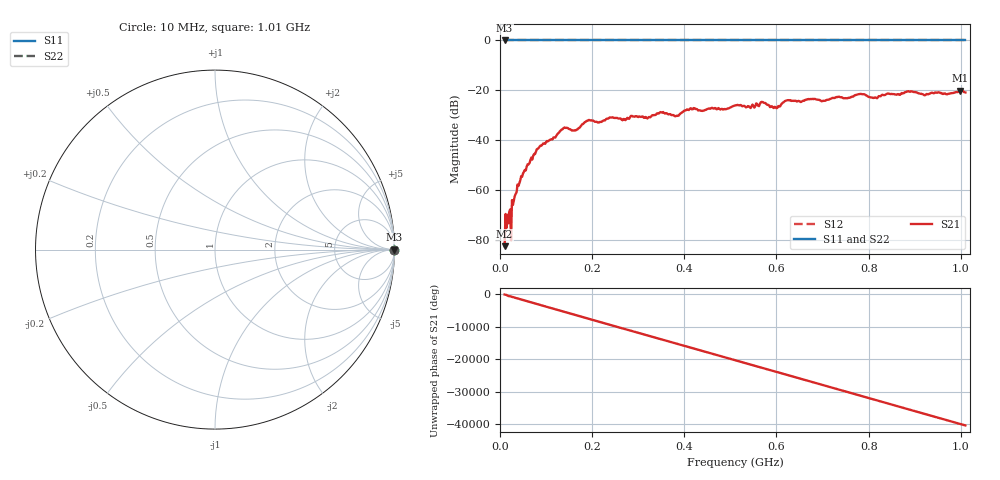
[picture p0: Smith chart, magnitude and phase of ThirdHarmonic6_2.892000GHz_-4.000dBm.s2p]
! 8/17/2025 7:57:51 AM
! C:\ANRITSUVNA\TEMP\TEMP.S2P
! CHANNEL.1
! TR.MEASUREMENT
! RAW.DATA
! RF.CORRECTION.OFF
! AVERAGING.OFF
! IF.BANDWIDTH: 5KHZ
! SWEEPTYPE:  FREQ.SWEEP(Linear)
! Reference Plane Port Info
! PORT:  PORT1  PORT2
! DISTANCE:  0  m  0  m
! TIME:  0  s  0  s
! PHASE.OFFSET:  0  deg.  0  deg.
! LOSS:  0  dB  0  dB
! REF.LOSS:  0  dB  0  dB
! REF.FREQ:  0  Hz  0  Hz
! Power Info
! POWER:  -20  dBm  -20  dBm
! EFF.POWER:  -20  dBm  -20  dBm
! SOURCE.ATTEN:  0  dB  0  dB
! TEST.ATTEN:  0  dB  0  dB
# GHZ S RI R 50.0
! FREQ.GHZ  S11RE  S11IM  S21RE  S21IM  S12RE  S12IM  S22RE  S22IM
!; PortSelection: Port_12
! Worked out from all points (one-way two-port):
!   501 points, 10 MHz to 1.01 GHz, reference 50 ohm
!   highest |S21| = -20.17 dB at 998 MHz (marker M1); lowest = -82.5 dB at 10 MHz (marker M2)
!   lowest |S11| = 0.0 dB at 10 MHz (marker M3)
!   |S11| at or under -10 dB: nowhere
!   |S22| runs from 0.0 to 0.0 dB; largest |S21 - S12| = 1.1
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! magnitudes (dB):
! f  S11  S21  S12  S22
! 10 MHz  0.0  -82.5  0.0  0.0
! 16 MHz  0.0  -70.0  0.0  0.0
! 20 MHz  0.0  -68.9  0.0  0.0
! 28 MHz  0.0  -66.0  0.0  0.0
! 30 MHz  0.0  -64.1  0.0  0.0
! 42 MHz  0.0  -57.3  0.0  0.0
! 82 MHz  0.0  -43.5  0.0  0.0
! 136 MHz  0.0  -35.6  0.0  0.0
! 162 MHz  0.0  -36.1  0.0  0.0
! 178 MHz  0.0  -33.7  0.0  0.0
! 192 MHz  0.0  -31.9  0.0  0.0
! 344 MHz  0.0  -29.4  0.0  0.0
! 384 MHz  0.0  -30.2  0.0  0.0
! 416 MHz  0.0  -27.6  0.0  0.0
! 510 MHz  0.0  -26.1  0.0  0.0
! 570 MHz  0.0  -24.7  0.0  0.0
! 598 MHz  0.0  -26.8  0.0  0.0
! 622 MHz  0.0  -24.1  0.0  0.0
! 678 MHz  0.0  -23.5  0.0  0.0
! 844 MHz  0.0  -21.4  0.0  0.0
! 998 MHz  0.0  -20.2  0.0  0.0
! 1.01 GHz  0.0  -20.9  0.0  0.0
